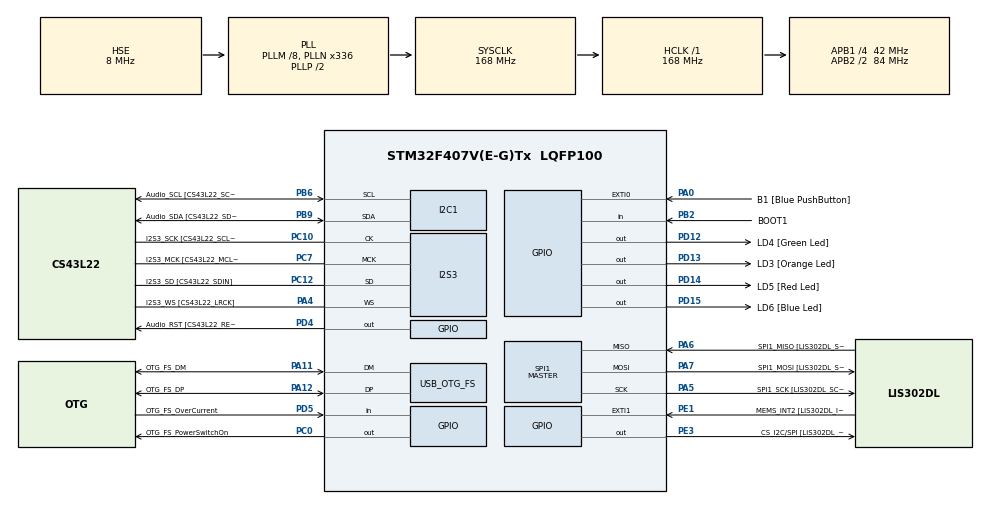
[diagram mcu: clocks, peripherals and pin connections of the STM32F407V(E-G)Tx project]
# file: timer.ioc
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I2S3.AudioFreq-Half_Duplex_Master=I2S_AUDIOFREQ_96K
I2S3.ErrorAudioFreq=-2.34 %
I2S3.ErrorAudioFreq-Half_Duplex_Master=0.8 %
I2S3.FullDuplexMode=I2S_FULLDUPLEXMODE_DISABLE
I2S3.Instance=SPI$Index
I2S3.RealAudioFreq=93.75 KHz
I2S3.RealAudioFreq-Half_Duplex_Master=96.774 KHz
I2S3.VirtualMode=I2S_MODE_MASTER
Mcu.Family=STM32F4
Mcu.Name=STM32F407V(E-G)Tx
Mcu.Package=LQFP100
NVIC.EXTI0_IRQn=true\:0\:0\:false\:false\:true\:true\:true\:true
NVIC.OTG_FS_IRQn=true\:0\:0\:false\:false\:true\:true\:true\:true
NVIC.PriorityGroup=NVIC_PRIORITYGROUP_0
NVIC.TIM6_DAC_IRQn=true\:0\:0\:false\:false\:true\:true\:true\:true
PA0-WKUP.GPIO_Label=B1 [Blue PushButton]
PA0-WKUP.GPIO_ModeDefaultEXTI=GPIO_MODE_IT_RISING_FALLING
PA0-WKUP.GPIO_PuPd=GPIO_NOPULL
PA0-WKUP.Signal=GPXTI0
PA10.GPIO_Label=OTG_FS_ID
PA10.GPIO_Mode=GPIO_MODE_AF_PP
PA10.GPIO_PuPd=GPIO_NOPULL
PA10.GPIO_Speed=GPIO_SPEED_FREQ_LOW
PA10.Signal=USB_OTG_FS_ID
PA11.GPIO_Label=OTG_FS_DM
PA11.GPIO_Mode=GPIO_MODE_AF_PP
PA11.GPIO_PuPd=GPIO_NOPULL
PA11.GPIO_Speed=GPIO_SPEED_FREQ_LOW
PA11.Mode=Device_Only
PA11.Signal=USB_OTG_FS_DM
PA12.GPIO_Label=OTG_FS_DP
PA12.GPIO_Mode=GPIO_MODE_AF_PP
PA12.GPIO_PuPd=GPIO_NOPULL
PA12.GPIO_Speed=GPIO_SPEED_FREQ_LOW
PA12.Mode=Device_Only
PA12.Signal=USB_OTG_FS_DP
PA13.GPIO_Label=SWDIO
PA13.Mode=Trace_Asynchronous_SW
PA13.Signal=SYS_JTMS-SWDIO
PA14.GPIO_Label=SWCLK
PA14.Mode=Trace_Asynchronous_SW
PA14.Signal=SYS_JTCK-SWCLK
PA4.GPIO_Label=I2S3_WS [CS43L22_LRCK]
PA4.GPIO_Mode=GPIO_MODE_AF_PP
PA4.GPIO_PuPd=GPIO_NOPULL
PA4.GPIO_Speed=GPIO_SPEED_FREQ_LOW
PA4.Mode=Half_Duplex_Master
PA4.Signal=I2S3_WS
PA5.GPIO_Label=SPI1_SCK [LIS302DL_SCL/SPC]
PA5.GPIO_Mode=GPIO_MODE_AF_PP
PA5.GPIO_PuPd=GPIO_NOPULL
PA5.GPIO_Speed=GPIO_SPEED_FREQ_LOW
PA5.Mode=Full_Duplex_Master
PA5.Signal=SPI1_SCK
PA6.GPIO_Label=SPI1_MISO [LIS302DL_SDO]
PA6.GPIO_Mode=GPIO_MODE_AF_PP
PA6.GPIO_PuPd=GPIO_NOPULL
PA6.GPIO_Speed=GPIO_SPEED_FREQ_LOW
PA6.Mode=Full_Duplex_Master
PA6.Signal=SPI1_MISO
PA7.GPIO_Label=SPI1_MOSI [LIS302DL_SDA/SDI/SDO]
PA7.GPIO_Mode=GPIO_MODE_AF_PP
PA7.GPIO_PuPd=GPIO_NOPULL
PA7.GPIO_Speed=GPIO_SPEED_FREQ_LOW
PA7.Mode=Full_Duplex_Master
PA7.Signal=SPI1_MOSI
PA9.GPIO_Label=VBUS_FS
PA9.GPIO_Mode=GPIO_MODE_INPUT
PA9.GPIO_PuPd=GPIO_NOPULL
PA9.Signal=USB_OTG_FS_VBUS
PB10.GPIO_Label=CLK_IN [MP45DT02_CLK]
PB10.GPIO_Mode=GPIO_MODE_AF_PP
PB10.GPIO_PuPd=GPIO_NOPULL
PB10.GPIO_Speed=GPIO_SPEED_FREQ_LOW
PB10.Signal=I2S2_CK
PB2.GPIO_Label=BOOT1
PB2.GPIO_Mode=GPIO_MODE_INPUT
PB2.GPIO_PuPd=GPIO_NOPULL
PB2.Signal=GPIO_Input
PB3.GPIO_Label=SWO
PB3.Mode=Trace_Asynchronous_SW
PB3.Signal=SYS_JTDO-SWO
PB6.GPIO_Label=Audio_SCL [CS43L22_SCL]
PB6.GPIO_Mode=GPIO_MODE_AF_OD
PB6.GPIO_Pu=GPIO_PULLUP
PB6.GPIO_PuPd=GPIO_NOPULL
PB6.GPIO_Speed=GPIO_SPEED_FREQ_LOW
PB6.Mode=I2C
PB6.Signal=I2C1_SCL
PB9.GPIO_Label=Audio_SDA [CS43L22_SDA]
PB9.GPIO_Mode=GPIO_MODE_AF_OD
PB9.GPIO_Pu=GPIO_PULLUP
PB9.GPIO_PuPd=GPIO_NOPULL
PB9.GPIO_Speed=GPIO_SPEED_FREQ_LOW
PB9.Mode=I2C
PB9.Signal=I2C1_SDA
PC0.GPIO_Label=OTG_FS_PowerSwitchOn
PC0.GPIO_PuPd=GPIO_NOPULL
PC0.GPIO_Speed=GPIO_SPEED_FREQ_LOW
PC0.PinState=GPIO_PIN_SET
PC0.Signal=GPIO_Output
PC10.GPIO_Label=I2S3_SCK [CS43L22_SCLK]
PC10.GPIO_Mode=GPIO_MODE_AF_PP
PC10.GPIO_PuPd=GPIO_NOPULL
PC10.GPIO_Speed=GPIO_SPEED_FREQ_LOW
PC10.Mode=Half_Duplex_Master
PC10.Signal=I2S3_CK
PC12.GPIO_Label=I2S3_SD [CS43L22_SDIN]
PC12.GPIO_Mode=GPIO_MODE_AF_PP
PC12.GPIO_PuPd=GPIO_NOPULL
PC12.GPIO_Speed=GPIO_SPEED_FREQ_LOW
PC12.Mode=Half_Duplex_Master
PC12.Signal=I2S3_SD
PC14-OSC32_IN.GPIO_Label=PC14-OSC32_IN
PC14-OSC32_IN.Mode=LSE-External-Oscillator
PC14-OSC32_IN.Signal=RCC_OSC32_IN
PC15-OSC32_OUT.GPIO_Label=PC15-OSC32_OUT
PC15-OSC32_OUT.Mode=LSE-External-Oscillator
PC15-OSC32_OUT.Signal=RCC_OSC32_OUT
PC3.GPIO_Label=PDM_OUT [MP45DT02_DOUT]
PC3.GPIO_Mode=GPIO_MODE_AF_PP
PC3.GPIO_PuPd=GPIO_NOPULL
PC3.GPIO_Speed=GPIO_SPEED_FREQ_LOW
PC3.Signal=I2S2_SD
PC7.GPIO_Label=I2S3_MCK [CS43L22_MCLK]
PC7.GPIO_Mode=GPIO_MODE_AF_PP
PC7.GPIO_PuPd=GPIO_NOPULL
PC7.GPIO_Speed=GPIO_SPEED_FREQ_LOW
PC7.Mode=Master_Clock_Activated
PC7.Signal=I2S3_MCK
PD12.GPIO_Label=LD4 [Green Led]
PD12.GPIO_PuPd=GPIO_NOPULL
PD12.GPIO_Speed=GPIO_SPEED_FREQ_LOW
PD12.Signal=GPIO_Output
PD13.GPIO_Label=LD3 [Orange Led]
PD13.GPIO_PuPd=GPIO_NOPULL
PD13.GPIO_Speed=GPIO_SPEED_FREQ_LOW
PD13.Signal=GPIO_Output
PD14.GPIO_Label=LD5 [Red Led]
PD14.GPIO_PuPd=GPIO_NOPULL
PD14.GPIO_Speed=GPIO_SPEED_FREQ_LOW
PD14.Signal=GPIO_Output
PD15.GPIO_Label=LD6 [Blue Led]
PD15.GPIO_PuPd=GPIO_NOPULL
PD15.GPIO_Speed=GPIO_SPEED_FREQ_LOW
PD15.Signal=GPIO_Output
PD4.GPIO_Label=Audio_RST [CS43L22_RESET]
PD4.GPIO_PuPd=GPIO_NOPULL
PD4.GPIO_Speed=GPIO_SPEED_FREQ_LOW
PD4.Signal=GPIO_Output
PD5.GPIO_Label=OTG_FS_OverCurrent
PD5.GPIO_Mode=GPIO_MODE_INPUT
PD5.GPIO_PuPd=GPIO_NOPULL
PD5.Signal=GPIO_Input
PE1.GPIO_Label=MEMS_INT2 [LIS302DL_INT2]
PE1.GPIO_ModeDefaultEXTI=GPIO_MODE_EVT_RISING
PE1.GPIO_PuPd=GPIO_NOPULL
PE1.Signal=GPXTI1
PE3.GPIO_Label=CS_I2C/SPI [LIS302DL_CS_I2C/SPI]
PE3.GPIO_PuPd=GPIO_NOPULL
PE3.GPIO_Speed=GPIO_SPEED_FREQ_LOW
PE3.Signal=GPIO_Output
PH0-OSC_IN.GPIO_Label=PH0-OSC_IN
PH0-OSC_IN.Mode=HSE-External-Oscillator
PH0-OSC_IN.Signal=RCC_OSC_IN
PH1-OSC_OUT.GPIO_Label=PH1-OSC_OUT
PH1-OSC_OUT.Mode=HSE-External-Oscillator
PH1-OSC_OUT.Signal=RCC_OSC_OUT
ProjectManager.HeapSize=0x200
ProjectManager.StackSize=0x400
ProjectManager.TargetToolchain=STM32CubeIDE
RCC.48MHZClocksFreq_Value=48000000
RCC.AHBFreq_Value=168000000
RCC.APB1CLKDivider=RCC_HCLK_DIV4
RCC.APB1Freq_Value=42000000
RCC.APB1TimFreq_Value=84000000
RCC.APB2CLKDivider=RCC_HCLK_DIV2
RCC.APB2Freq_Value=84000000
RCC.APB2TimFreq_Value=168000000
RCC.CortexFreq_Value=168000000
RCC.HCLKFreq_Value=168000000
RCC.HSE_VALUE=8000000
RCC.HSI_VALUE=16000000
RCC.PLLM=8
RCC.PLLN=336
RCC.PLLQ=7
RCC.SYSCLKFreq_VALUE=168000000
RCC.SYSCLKSource=RCC_SYSCLKSOURCE_PLLCLK
RCC.VCOOutputFreq_Value=336000000
SPI1.BaudRatePrescaler-Full_Duplex_Master=SPI_BAUDRATEPRESCALER_2
SPI1.CalculateBaudRate-Full_Duplex_Master=42.0 MBits/s
SPI1.Direction=SPI_DIRECTION_2LINES
SPI1.Mode=SPI_MODE_MASTER
SPI1.Mode-Full_Duplex_Master=SPI_MODE_MASTER
SPI1.VirtualType=VM_MASTER
TIM6.Period=2100-1
TIM6.Prescaler=40000-1
USB_DEVICE.CLASS_NAME_FS=CDC
USB_DEVICE.VirtualMode-CDC_FS=Cdc
USB_DEVICE.VirtualModeFS=Cdc_FS
USB_OTG_FS.VirtualMode=Device_Only
VP_TIM6_VS_ClockSourceINT.Mode=Enable_Timer
VP_USB_DEVICE_VS_USB_DEVICE_CDC_FS.Mode=CDC_FS
board=STM32F407G-DISC1

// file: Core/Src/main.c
/* USER CODE BEGIN Header */
/**
  ******************************************************************************
  * @file           : main.c
  * @brief          : Main program body
  ******************************************************************************
  * @attention
  *
  * Copyright (c) 2022 STMicroelectronics.
  * All rights reserved.
  *
  * This software is licensed under terms that can be found in the LICENSE file
  * in the root directory of this software component.
  * If no LICENSE file comes with this software, it is provided AS-IS.
  *
  ******************************************************************************
  */
/* USER CODE END Header */
#include "main.h"
#include "usb_device.h"

/* USER CODE BEGIN Includes */
#include "usbd_cdc_if.h"
#include "string.h"
/* USER CODE END Includes */

I2C_HandleTypeDef hi2c1;

I2S_HandleTypeDef hi2s3;

SPI_HandleTypeDef hspi1;

TIM_HandleTypeDef htim6;

/* USER CODE BEGIN PV */
int array1[1]={0};
int one=0;
int count=0;
int hayat=0;
int hayat2=1;
char str1[32];
int size1=sizeof(array1)/4;
/* USER CODE END PV */

void SystemClock_Config(void);
static void MX_GPIO_Init(void);
static void MX_I2C1_Init(void);
static void MX_I2S3_Init(void);
static void MX_SPI1_Init(void);
static void MX_TIM6_Init(void);
void blueyak();
void redyak();
/* USER CODE BEGIN PFP */
int lessthan(int arr[], int n ,int m);

/* USER CODE END PFP */

int main(void)
{
  /* USER CODE BEGIN 1 */

	char *morscode[]={"._","_...","_._.","_..",".",".._.","__.","....","..",".___","_._","._..","__","_.","___",".__.","__._","._.","...","_",".._","..._",".__","_.._","_.__","__..",".____","..___","...__","...._",".....","_....","__...","___..","____.","_____"};
	char *morse[]={"A","B","C","D","E","F","G","H","I","J","K","L","M","N","O","P","Q","R","S","T","U","V","W","X","Y","Z","1","2","3","4","5","6","7","8","9","0"};
  /* USER CODE END 1 */

  /* MCU Configuration--------------------------------------------------------*/

  /* Reset of all peripherals, Initializes the Flash interface and the Systick. */
  HAL_Init();

  /* Configure the system clock */
  SystemClock_Config();

  /* Initialize all configured peripherals */
  MX_GPIO_Init();
  MX_I2C1_Init();
  MX_I2S3_Init();
  MX_SPI1_Init();
  MX_TIM6_Init();
  MX_USB_DEVICE_Init();

  /* Infinite loop */
  while (1)
  {

    /* USER CODE BEGIN 3 */
	  HAL_GPIO_WritePin(GPIOD, GPIO_PIN_12, 1);
	  HAL_Delay(6000);
	  HAL_GPIO_WritePin(GPIOD, GPIO_PIN_12, 0);
	  HAL_Delay(1000);
	  if(hayat==1){
	  for(int i=0;i<sizeof(morscode)/sizeof(char *);i++)
	  if(!strcmp(str1, morscode[i])){
	  CDC_Transmit_FS(morse[i], strlen(morse[i]));
		 // CDC_Transmit_FS(str1, strlen(str1));
	  memset(str1, '\0', strlen("str1")+1);
	  hayat=0;
	  }

  }
  }
  /* USER CODE END 3 */
}

void SystemClock_Config(void)
{
  RCC_OscInitTypeDef RCC_OscInitStruct = {0};
  RCC_ClkInitTypeDef RCC_ClkInitStruct = {0};

  /** Configure the main internal regulator output voltage
  */
  __HAL_RCC_PWR_CLK_ENABLE();
  __HAL_PWR_VOLTAGESCALING_CONFIG(PWR_REGULATOR_VOLTAGE_SCALE1);

  /** Initializes the RCC Oscillators according to the specified parameters
  * in the RCC_OscInitTypeDef structure.
  */
  RCC_OscInitStruct.OscillatorType = RCC_OSCILLATORTYPE_HSE;
  RCC_OscInitStruct.HSEState = RCC_HSE_ON;
  RCC_OscInitStruct.PLL.PLLState = RCC_PLL_ON;
  RCC_OscInitStruct.PLL.PLLSource = RCC_PLLSOURCE_HSE;
  RCC_OscInitStruct.PLL.PLLM = 8;
  RCC_OscInitStruct.PLL.PLLN = 336;
  RCC_OscInitStruct.PLL.PLLP = RCC_PLLP_DIV2;
  RCC_OscInitStruct.PLL.PLLQ = 7;
  if (HAL_RCC_OscConfig(&RCC_OscInitStruct) != HAL_OK)
  {
    Error_Handler();
  }

  /** Initializes the CPU, AHB and APB buses clocks
  */
  RCC_ClkInitStruct.ClockType = RCC_CLOCKTYPE_HCLK|RCC_CLOCKTYPE_SYSCLK
                              |RCC_CLOCKTYPE_PCLK1|RCC_CLOCKTYPE_PCLK2;
  RCC_ClkInitStruct.SYSCLKSource = RCC_SYSCLKSOURCE_PLLCLK;
  RCC_ClkInitStruct.AHBCLKDivider = RCC_SYSCLK_DIV1;
  RCC_ClkInitStruct.APB1CLKDivider = RCC_HCLK_DIV4;
  RCC_ClkInitStruct.APB2CLKDivider = RCC_HCLK_DIV2;

  if (HAL_RCC_ClockConfig(&RCC_ClkInitStruct, FLASH_LATENCY_5) != HAL_OK)
  {
    Error_Handler();
  }
}

static void MX_I2C1_Init(void)
{

  hi2c1.Instance = I2C1;
  hi2c1.Init.ClockSpeed = 100000;
  hi2c1.Init.DutyCycle = I2C_DUTYCYCLE_2;
  hi2c1.Init.OwnAddress1 = 0;
  hi2c1.Init.AddressingMode = I2C_ADDRESSINGMODE_7BIT;
  hi2c1.Init.DualAddressMode = I2C_DUALADDRESS_DISABLE;
  hi2c1.Init.OwnAddress2 = 0;
  hi2c1.Init.GeneralCallMode = I2C_GENERALCALL_DISABLE;
  hi2c1.Init.NoStretchMode = I2C_NOSTRETCH_DISABLE;
  if (HAL_I2C_Init(&hi2c1) != HAL_OK)
  {
    Error_Handler();
  }

}

static void MX_I2S3_Init(void)
{

  hi2s3.Instance = SPI3;
  hi2s3.Init.Mode = I2S_MODE_MASTER_TX;
  hi2s3.Init.Standard = I2S_STANDARD_PHILIPS;
  hi2s3.Init.DataFormat = I2S_DATAFORMAT_16B;
  hi2s3.Init.MCLKOutput = I2S_MCLKOUTPUT_ENABLE;
  hi2s3.Init.AudioFreq = I2S_AUDIOFREQ_96K;
  hi2s3.Init.CPOL = I2S_CPOL_LOW;
  hi2s3.Init.ClockSource = I2S_CLOCK_PLL;
  hi2s3.Init.FullDuplexMode = I2S_FULLDUPLEXMODE_DISABLE;
  if (HAL_I2S_Init(&hi2s3) != HAL_OK)
  {
    Error_Handler();
  }

}

static void MX_SPI1_Init(void)
{

  /* SPI1 parameter configuration*/
  hspi1.Instance = SPI1;
  hspi1.Init.Mode = SPI_MODE_MASTER;
  hspi1.Init.Direction = SPI_DIRECTION_2LINES;
  hspi1.Init.DataSize = SPI_DATASIZE_8BIT;
  hspi1.Init.CLKPolarity = SPI_POLARITY_LOW;
  hspi1.Init.CLKPhase = SPI_PHASE_1EDGE;
  hspi1.Init.NSS = SPI_NSS_SOFT;
  hspi1.Init.BaudRatePrescaler = SPI_BAUDRATEPRESCALER_2;
  hspi1.Init.FirstBit = SPI_FIRSTBIT_MSB;
  hspi1.Init.TIMode = SPI_TIMODE_DISABLE;
  hspi1.Init.CRCCalculation = SPI_CRCCALCULATION_DISABLE;
  hspi1.Init.CRCPolynomial = 10;
  if (HAL_SPI_Init(&hspi1) != HAL_OK)
  {
    Error_Handler();
  }

}

static void MX_TIM6_Init(void)
{

  TIM_MasterConfigTypeDef sMasterConfig = {0};

  htim6.Instance = TIM6;
  htim6.Init.Prescaler = 40000-1;
  htim6.Init.CounterMode = TIM_COUNTERMODE_UP;
  htim6.Init.Period = 2100-1;
  htim6.Init.AutoReloadPreload = TIM_AUTORELOAD_PRELOAD_DISABLE;
  if (HAL_TIM_Base_Init(&htim6) != HAL_OK)
  {
    Error_Handler();
  }
  sMasterConfig.MasterOutputTrigger = TIM_TRGO_RESET;
  sMasterConfig.MasterSlaveMode = TIM_MASTERSLAVEMODE_DISABLE;
  if (HAL_TIMEx_MasterConfigSynchronization(&htim6, &sMasterConfig) != HAL_OK)
  {
    Error_Handler();
  }

}

static void MX_GPIO_Init(void)
{
  GPIO_InitTypeDef GPIO_InitStruct = {0};

  /* GPIO Ports Clock Enable */
  __HAL_RCC_GPIOE_CLK_ENABLE();
  __HAL_RCC_GPIOC_CLK_ENABLE();
  __HAL_RCC_GPIOH_CLK_ENABLE();
  __HAL_RCC_GPIOA_CLK_ENABLE();
  __HAL_RCC_GPIOB_CLK_ENABLE();
  __HAL_RCC_GPIOD_CLK_ENABLE();

  /*Configure GPIO pin Output Level */
  HAL_GPIO_WritePin(CS_I2C_SPI_GPIO_Port, CS_I2C_SPI_Pin, GPIO_PIN_RESET);

  /*Configure GPIO pin Output Level */
  HAL_GPIO_WritePin(OTG_FS_PowerSwitchOn_GPIO_Port, OTG_FS_PowerSwitchOn_Pin, GPIO_PIN_SET);

  /*Configure GPIO pin Output Level */
  HAL_GPIO_WritePin(GPIOD, LD4_Pin|LD3_Pin|LD5_Pin|LD6_Pin
                          |Audio_RST_Pin, GPIO_PIN_RESET);

  /*Configure GPIO pin : CS_I2C_SPI_Pin */
  GPIO_InitStruct.Pin = CS_I2C_SPI_Pin;
  GPIO_InitStruct.Mode = GPIO_MODE_OUTPUT_PP;
  GPIO_InitStruct.Pull = GPIO_NOPULL;
  GPIO_InitStruct.Speed = GPIO_SPEED_FREQ_LOW;
  HAL_GPIO_Init(CS_I2C_SPI_GPIO_Port, &GPIO_InitStruct);

  /*Configure GPIO pin : OTG_FS_PowerSwitchOn_Pin */
  GPIO_InitStruct.Pin = OTG_FS_PowerSwitchOn_Pin;
  GPIO_InitStruct.Mode = GPIO_MODE_OUTPUT_PP;
  GPIO_InitStruct.Pull = GPIO_NOPULL;
  GPIO_InitStruct.Speed = GPIO_SPEED_FREQ_LOW;
  HAL_GPIO_Init(OTG_FS_PowerSwitchOn_GPIO_Port, &GPIO_InitStruct);

  /*Configure GPIO pin : PDM_OUT_Pin */
  GPIO_InitStruct.Pin = PDM_OUT_Pin;
  GPIO_InitStruct.Mode = GPIO_MODE_AF_PP;
  GPIO_InitStruct.Pull = GPIO_NOPULL;
  GPIO_InitStruct.Speed = GPIO_SPEED_FREQ_LOW;
  GPIO_InitStruct.Alternate = GPIO_AF5_SPI2;
  HAL_GPIO_Init(PDM_OUT_GPIO_Port, &GPIO_InitStruct);

  /*Configure GPIO pin : B1_Pin */
  GPIO_InitStruct.Pin = B1_Pin;
  GPIO_InitStruct.Mode = GPIO_MODE_IT_RISING_FALLING;
  GPIO_InitStruct.Pull = GPIO_NOPULL;
  HAL_GPIO_Init(B1_GPIO_Port, &GPIO_InitStruct);

  /*Configure GPIO pin : BOOT1_Pin */
  GPIO_InitStruct.Pin = BOOT1_Pin;
  GPIO_InitStruct.Mode = GPIO_MODE_INPUT;
  GPIO_InitStruct.Pull = GPIO_NOPULL;
  HAL_GPIO_Init(BOOT1_GPIO_Port, &GPIO_InitStruct);

  /*Configure GPIO pin : CLK_IN_Pin */
  GPIO_InitStruct.Pin = CLK_IN_Pin;
  GPIO_InitStruct.Mode = GPIO_MODE_AF_PP;
  GPIO_InitStruct.Pull = GPIO_NOPULL;
  GPIO_InitStruct.Speed = GPIO_SPEED_FREQ_LOW;
  GPIO_InitStruct.Alternate = GPIO_AF5_SPI2;
  HAL_GPIO_Init(CLK_IN_GPIO_Port, &GPIO_InitStruct);

  /*Configure GPIO pins : LD4_Pin LD3_Pin LD5_Pin LD6_Pin
                           Audio_RST_Pin */
  GPIO_InitStruct.Pin = LD4_Pin|LD3_Pin|LD5_Pin|LD6_Pin
                          |Audio_RST_Pin;
  GPIO_InitStruct.Mode = GPIO_MODE_OUTPUT_PP;
  GPIO_InitStruct.Pull = GPIO_NOPULL;
  GPIO_InitStruct.Speed = GPIO_SPEED_FREQ_LOW;
  HAL_GPIO_Init(GPIOD, &GPIO_InitStruct);

  /*Configure GPIO pin : OTG_FS_OverCurrent_Pin */
  GPIO_InitStruct.Pin = OTG_FS_OverCurrent_Pin;
  GPIO_InitStruct.Mode = GPIO_MODE_INPUT;
  GPIO_InitStruct.Pull = GPIO_NOPULL;
  HAL_GPIO_Init(OTG_FS_OverCurrent_GPIO_Port, &GPIO_InitStruct);

  /*Configure GPIO pin : MEMS_INT2_Pin */
  GPIO_InitStruct.Pin = MEMS_INT2_Pin;
  GPIO_InitStruct.Mode = GPIO_MODE_EVT_RISING;
  GPIO_InitStruct.Pull = GPIO_NOPULL;
  HAL_GPIO_Init(MEMS_INT2_GPIO_Port, &GPIO_InitStruct);

  /* EXTI interrupt init*/
  HAL_NVIC_SetPriority(EXTI0_IRQn, 0, 0);
  HAL_NVIC_EnableIRQ(EXTI0_IRQn);

}

/* USER CODE BEGIN 4 */
void HAL_GPIO_EXTI_Callback(uint16_t GPIO_Pin)
{

  /* Prevent unused argument(s) compilation warning */
  if(GPIO_Pin==GPIO_PIN_0){
	  if(HAL_GPIO_ReadPin( GPIOA,GPIO_PIN_0)){
	  count=0;
	  hayat=0;
	  HAL_TIM_Base_Start_IT(&htim6);
	  }
	  if(HAL_GPIO_ReadPin( GPIOA,GPIO_PIN_0)==0){
      HAL_TIM_Base_Stop_IT(&htim6);
      array1[one]=(count*2100)+(TIM6->CNT);
      TIM6->CNT=0;
      hayat=1;
      hayat2=0;
      one=one+1;
	  one=one%(sizeof(array1)/4);
	 	  if(lessthan(array1,size1,15)==0){
		  if(lessthan(array1,size1,550)){
			  strcat(str1,".");
			  blueyak();
		  }
		  else{
			  strcat(str1,"_");
			  redyak();
		  }
	  }

	  }
  }

  /* NOTE: This function Should not be modified, when the callback is needed,
           the HAL_GPIO_EXTI_Callback could be implemented in the user file
   */
}
void HAL_TIM_PeriodElapsedCallback(TIM_HandleTypeDef *htim)
{
	if (htim==&htim6)
	{
	if(hayat2!=1)
	count++;

	}
}
int lessthan(int arr[], int n , int m)
{
    int i;
    int j=0;
    // Initialize maximum element
    int max = arr[0];

    // Traverse array elements
    // from second and compare
    // every element with current max
    for (i = 0; i < n; i++)
        if (arr[i] < m)
            j++;

    return j;
}
void blueyak(){
	HAL_GPIO_WritePin(GPIOD, LD6_Pin, GPIO_PIN_SET);
	for(int i=0;i<3600000;i++){}
		HAL_GPIO_WritePin(GPIOD, LD6_Pin, GPIO_PIN_RESET);

}
void redyak(){
	HAL_GPIO_WritePin(GPIOD, LD5_Pin, GPIO_PIN_SET);
	for(int i=0;i<3600000;i++){}
	HAL_GPIO_WritePin(GPIOD, LD5_Pin, GPIO_PIN_RESET);

}
/* USER CODE END 4 */

void Error_Handler(void)
{
  __disable_irq();
  while (1)
  {
  }
}
